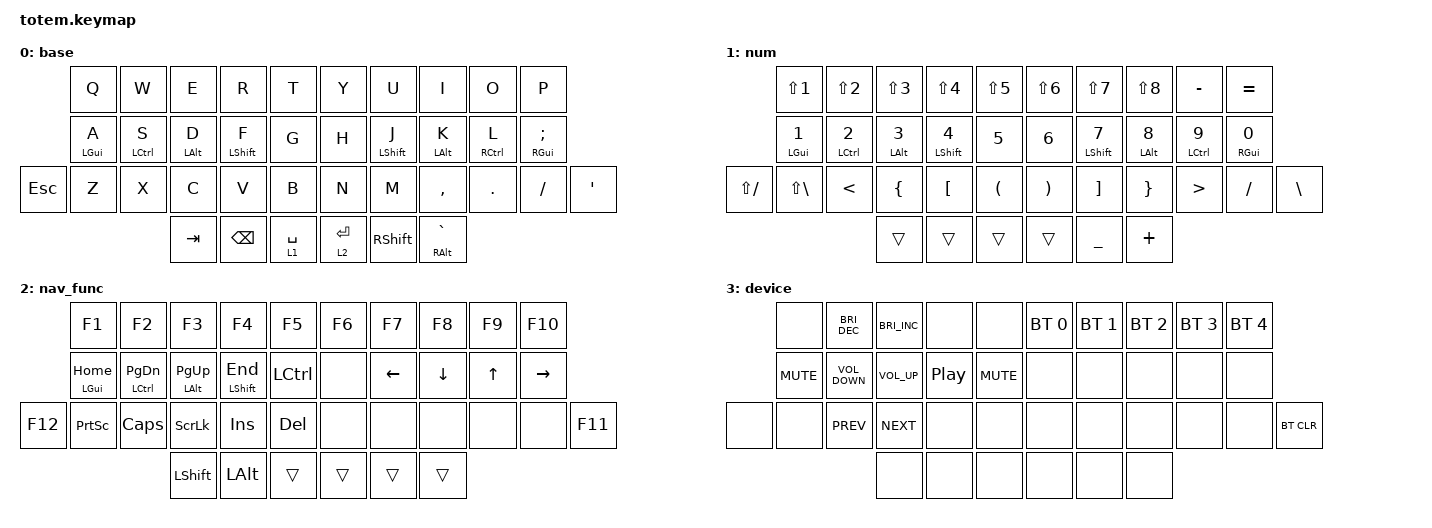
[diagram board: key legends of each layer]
//
//                                                        ▀▀▀▀▀     ▀▀▀▀▀          ▀▀█▀▀
//                                                        ▄▀▀▀▄  ▄  ▄▀▀▀▄  ▄  ▄▀▀▀▄  █  ▄▀▀▀▄
//                                                        █   █  █  █   █  █  █   █  █  █   █
//                                                         ▀▀▀   █   ▀▀▀   █   ▀▀▀   ▀   ▀▀▀
//                                                               █      ▄▄▄█▄▄▄    █   █  
//                                                               ▀      █  █  █     █▄█
//                                                             ▀▀▀▀▀    █  █  █      ▀
//                                                                      ▀  ▀  ▀
//
// ▄▄▄▄▄▄▄▄▄▄▄▄▄▄▄▄▄▄▄▄▄▄▄▄▄▄▄▄▄▄▄▄▄▄▄▄▄▄▄▄▄▄▄▄▄▄▄▄▄▄▄▄▄▄▄▄▄▄▄▄▄▄▄▄▄▄▄▄▄▄▄▄▄▄▄▄▄▄▄▄▄▄▄▄▄▄▄▄▄▄▄▄▄▄▄▄▄▄▄▄▄▄▄▄▄▄▄▄▄▄▄▄▄▄▄▄▄▄▄▄▄▄▄▄▄▄▄▄▄▄▄▄▄▄▄▄▄▄▄▄▄▄▄▄▄▄▄▄▄

#include <behaviors.dtsi>
#include <dt-bindings/zmk/bt.h>
#include <dt-bindings/zmk/keys.h>

/ {
    behaviors {
        bhm: homerow_mods {
            compatible = "zmk,behavior-hold-tap";
            label = "HOMEROW_MODS";
            bindings = <&kp>, <&kp>;

            #binding-cells = <2>;
            tapping-term-ms = <250>;
            flavor = "tap-preferred";
        };
    };

    combos {
        compatible = "zmk,combos";

        undo {
            bindings = <&kp LC(Z)>;
            key-positions = <21 22>;
        };

        cut {
            bindings = <&kp LC(X)>;
            key-positions = <22 23>;
        };

        copy {
            bindings = <&kp LC(C)>;
            key-positions = <22 24>;
        };

        paste {
            bindings = <&kp LC(V)>;
            key-positions = <23 24>;
        };
    };

    keymap {
        compatible = "zmk,keymap";

        base {
            bindings = <
         &kp Q        &kp W         &kp E        &kp R              &kp T          &kp Y        &kp U              &kp I                 &kp O         &kp P
         &bhm LGUI A  &bhm LCTRL S  &bhm LALT D  &bhm LEFT_SHIFT F  &kp G          &kp H        &bhm LEFT_SHIFT J  &bhm LALT K           &bhm RCTRL L  &bhm RGUI SEMI
&kp ESC  &kp Z        &kp X         &kp C        &kp V              &kp B          &kp N        &kp M              &kp COMMA             &kp DOT       &kp FSLH        &kp APOS
                                    &kp TAB      &kp BSPC           &lt 1 SPACE    &lt 2 ENTER  &kp RIGHT_SHIFT    &bhm RIGHT_ALT GRAVE
            >;
        };

        num {
            bindings = <
               &kp LS(N1)    &kp LS(N2)     &kp LS(N3)        &kp LS(N4)          &kp LS(N5)              &kp LS(N6)             &kp LS(N7)          &kp LS(N8)       &kp MINUS         &kp EQUAL
               &bhm LGUI N1  &bhm LCTRL N2  &bhm LEFT_ALT N3  &bhm LEFT_SHIFT N4  &kp N5                  &kp N6                 &bhm LEFT_SHIFT N7  &bhm LALT N8     &bhm LCTRL N9     &bhm RGUI N0
&kp LS(SLASH)  &kp LS(BSLH)  &kp LESS_THAN  &kp LEFT_BRACE    &kp LEFT_BRACKET    &kp LEFT_PARENTHESIS    &kp RIGHT_PARENTHESIS  &kp RIGHT_BRACKET   &kp RIGHT_BRACE  &kp GREATER_THAN  &kp FSLH      &kp BSLH
                                            &trans            &trans              &trans                  &trans                 &kp UNDER           &kp PLUS
            >;
        };

        nav_func {
            bindings = <
         &kp F1              &kp F2            &kp F3           &kp F4               &kp F5       &kp F6  &kp F7          &kp F8          &kp F9        &kp F10
         &bhm LEFT_GUI HOME  &bhm LCTRL PG_DN  &bhm LALT PG_UP  &bhm LEFT_SHIFT END  &kp LCTRL    &none   &kp LEFT_ARROW  &kp DOWN_ARROW  &kp UP_ARROW  &kp RIGHT_ARROW
&kp F12  &kp PSCRN           &kp CAPS          &kp SCROLLLOCK   &kp INSERT           &kp DEL      &none   &none           &none           &none         &none            &kp F11
                                               &kp LSHIFT       &kp LEFT_ALT         &trans       &trans  &trans          &trans
            >;
        };

        device {
            bindings = <
       &none       &kp C_BRIGHTNESS_DEC  &kp C_BRIGHTNESS_INC  &none             &none         &bt BT_SEL 0  &bt BT_SEL 1  &bt BT_SEL 2  &bt BT_SEL 3  &bt BT_SEL 4
       &kp K_MUTE  &kp C_VOLUME_DOWN     &kp C_VOLUME_UP       &kp C_PLAY_PAUSE  &kp C_MUTE    &none         &none         &none         &none         &none
&none  &none       &kp C_PREV            &kp C_NEXT            &none             &none         &none         &none         &none         &none         &none         &bt BT_CLR
                                         &none                 &none             &none         &none         &none         &none
            >;
        };

        extra1 { status = "reserved"; };

        extra2 { status = "reserved"; };

        extra3 { status = "reserved"; };
    };

    conditional_layers {
        compatible = "zmk,conditional-layers";

        device {
            if-layers = <1 2>;
            then-layer = <3>;
        };
    };
};
